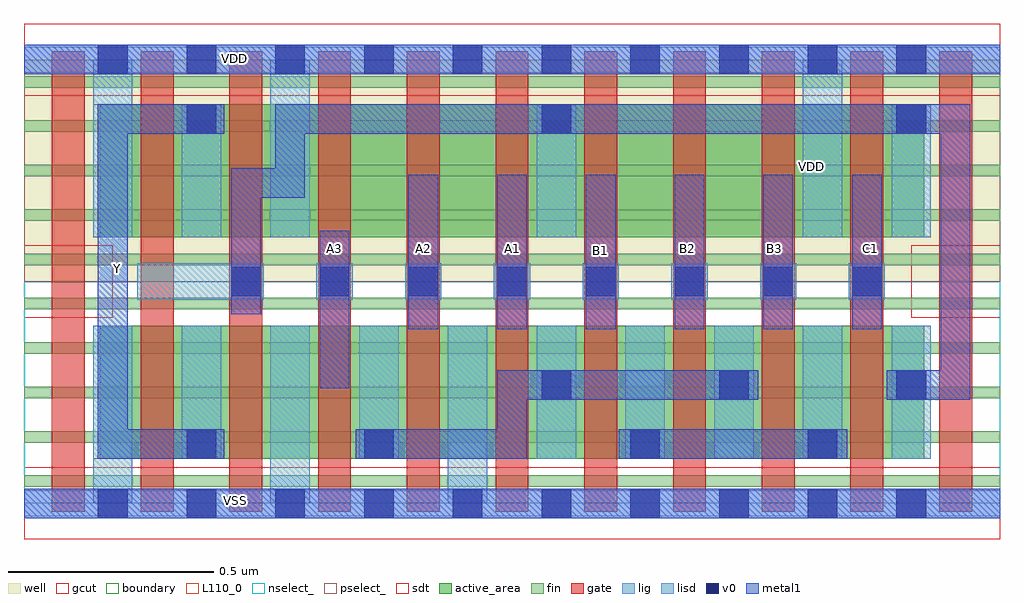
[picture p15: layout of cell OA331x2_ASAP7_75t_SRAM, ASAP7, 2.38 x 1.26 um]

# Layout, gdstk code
import gdstk
lib = gdstk.Library(unit=1e-6, precision=2.5e-10)
def R(c, l, rs):  # rectangles x0, y0, x1, y1
    for r in rs: c.add(gdstk.rectangle(r[:2], r[2:], *l))
def A(c, l, x, y, w, h, nx, ny, dx, dy):  # array of equal rectangles
    R(c, l, [(x+i*dx, y+j*dy, x+i*dx+w, y+j*dy+h) for i in range(nx) for j in range(ny)])
def P(c, l, *ps):  # polygons
    for p in ps: c.add(gdstk.Polygon(p, *l))
well = (1, 0)
fin = (2, 0)
gate = (7, 0)
gcut = (10, 0)
active_area = (11, 0)
nselect_ = (12, 0)
pselect_ = (13, 0)
lig = (16, 0)
lisd = (17, 0)
v0 = (18, 0)
metal1 = (19, 0)
sdt = (88, 0)
boundary = (100, 0)
L110_0 = (110, 0)

oa331x2_asap7_75t_sram = lib.new_cell('OA331x2_ASAP7_75t_SRAM')
R(oa331x2_asap7_75t_sram, well, [(0,0.54,2.376,1.08)])
A(oa331x2_asap7_75t_sram, fin, 0, 0.04, 2.376, 0.028, 1, 10, 0, 0.108)
A(oa331x2_asap7_75t_sram, gate, 0.068, -0.02, 0.08, 1.12, 11, 1, 0.216, 0)
R(oa331x2_asap7_75t_sram, gcut, [(0,-0.088,2.376,0.088), (0,0.452,0.216,0.628), (2.16,0.452,2.376,0.628), (0,0.992,2.376,1.168)])
R(oa331x2_asap7_75t_sram, active_area, [(0.184,0.108,2.192,0.432), (0.184,0.648,2.192,0.972)])
R(oa331x2_asap7_75t_sram, nselect_, [(0,0,2.376,0.54)])
R(oa331x2_asap7_75t_sram, pselect_, [(0,0.54,2.376,1.08)])
A(oa331x2_asap7_75t_sram, lig, 0.712, 0.496, 0.088, 0.088, 7, 1, 0.216, 0)
R(oa331x2_asap7_75t_sram, lig, [(0,-0.032,2.376,0.032), (0.276,0.496,0.584,0.584), (0,1.048,2.376,1.112)])
A(oa331x2_asap7_75t_sram, lisd, 0.168, 0, 0.096, 0.432, 3, 1, 0.432, 0)
A(oa331x2_asap7_75t_sram, lisd, 0.384, 0.108, 0.096, 0.324, 3, 1, 0.432, 0)
A(oa331x2_asap7_75t_sram, lisd, 1.464, 0.108, 0.096, 0.324, 4, 1, 0.216, 0)
A(oa331x2_asap7_75t_sram, lisd, 0.384, 0.648, 0.096, 0.324, 3, 1, 0.864, 0)
R(oa331x2_asap7_75t_sram, lisd, [(0.168,0.648,0.264,1.08), (0.6,0.648,0.696,1.08), (1.896,0.648,1.992,1.08)])
A(oa331x2_asap7_75t_sram, v0, 0.18, -0.036, 0.072, 0.072, 10, 2, 0.216, 1.08)
A(oa331x2_asap7_75t_sram, v0, 1.26, 0.252, 0.072, 0.072, 3, 1, 0.432, 0)
A(oa331x2_asap7_75t_sram, v0, 0.504, 0.504, 0.072, 0.072, 8, 1, 0.216, 0)
A(oa331x2_asap7_75t_sram, v0, 0.396, 0.9, 0.072, 0.072, 3, 1, 0.864, 0)
R(oa331x2_asap7_75t_sram, v0, [(0.396,0.108,0.468,0.18), (0.828,0.108,0.9,0.18), (1.476,0.108,1.548,0.18), (1.908,0.108,1.98,0.18)])
A(oa331x2_asap7_75t_sram, metal1, 0.936, 0.424, 0.072, 0.376, 6, 1, 0.216, 0)
R(oa331x2_asap7_75t_sram, metal1, [(0,-0.036,2.376,0.036), (1.448,0.108,2.004,0.18), (0.72,0.28,0.792,0.664), (0,1.044,2.376,1.116)])
P(oa331x2_asap7_75t_sram, metal1, [(0.488,0.18),(0.252,0.18),(0.252,0.9),(0.488,0.9),(0.488,0.972),(0.18,0.972),(0.18,0.108),(0.488,0.108)],
  [(1.788,0.324),(1.152,0.324),(1.152,0.18),(0.808,0.18),(0.808,0.108),(1.224,0.108),(1.224,0.252),(1.788,0.252)],
  [(2.304,0.972),(0.612,0.972),(0.612,0.816),(0.504,0.816),(0.504,0.46),(0.576,0.46),(0.576,0.744),(0.684,0.744),(0.684,0.9),(2.232,0.9),(2.232,0.324),(2.1,0.324),(2.1,0.252),(2.304,0.252)])
A(oa331x2_asap7_75t_sram, sdt, 0.168, 0.108, 0.096, 0.324, 10, 1, 0.216, 0)
A(oa331x2_asap7_75t_sram, sdt, 0.168, 0.648, 0.096, 0.324, 3, 1, 0.216, 0)
R(oa331x2_asap7_75t_sram, sdt, [(1.248,0.648,1.344,0.972), (1.896,0.648,1.992,0.972), (2.112,0.648,2.208,0.972)])
R(oa331x2_asap7_75t_sram, boundary, [(0,0,2.376,1.08)])
R(oa331x2_asap7_75t_sram, L110_0, [(0,0,2.376,1.08)])
oa331x2_asap7_75t_sram.add(gdstk.Label('VSS', (1.68,-0.184), layer=3, texttype=251))
oa331x2_asap7_75t_sram.add(gdstk.Label('VDD', (1.916,0.82), layer=1, texttype=251))
oa331x2_asap7_75t_sram.add(gdstk.Label('VDD', (0.512,1.084), layer=19, texttype=251))
oa331x2_asap7_75t_sram.add(gdstk.Label('Y', (0.228,0.572), layer=19, texttype=251))
oa331x2_asap7_75t_sram.add(gdstk.Label('VSS', (0.516,0.008), layer=19, texttype=251))
oa331x2_asap7_75t_sram.add(gdstk.Label('VDD', (0.512,1.084), layer=19, texttype=251))
oa331x2_asap7_75t_sram.add(gdstk.Label('VSS', (0.516,0.008), layer=19, texttype=251))
oa331x2_asap7_75t_sram.add(gdstk.Label('C1', (2.06,0.62), layer=19, texttype=251))
oa331x2_asap7_75t_sram.add(gdstk.Label('B3', (1.828,0.62), layer=19, texttype=251))
oa331x2_asap7_75t_sram.add(gdstk.Label('B2', (1.616,0.62), layer=19, texttype=251))
oa331x2_asap7_75t_sram.add(gdstk.Label('B1', (1.404,0.616), layer=19, texttype=251))
oa331x2_asap7_75t_sram.add(gdstk.Label('A1', (1.188,0.62), layer=19, texttype=251))
oa331x2_asap7_75t_sram.add(gdstk.Label('A2', (0.972,0.62), layer=19, texttype=251))
oa331x2_asap7_75t_sram.add(gdstk.Label('A3', (0.756,0.62), layer=19, texttype=251))

lib.write_gds('OA331x2_ASAP7_75t_SRAM.gds')
